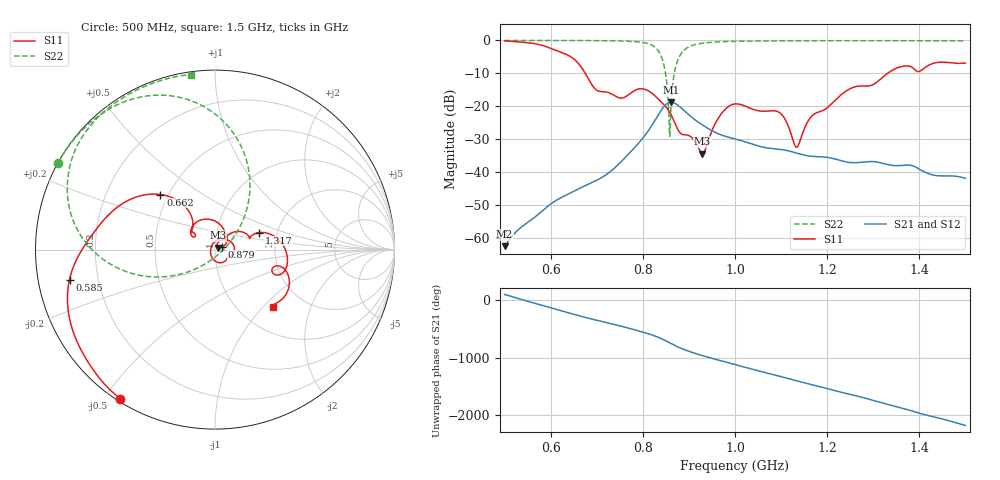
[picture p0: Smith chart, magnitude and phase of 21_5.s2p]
! TOUCHSTONE file generated by CST MICROWAVE STUDIO
! Date and time: Mon Oct 26 12:31:40 2020
! Project name: Scenario_1_Circular_Tissue_out_of_Line.cst
! Parameters = {dy1=0.82; L_HA=400; MT=2.54; Rad_Dielectric=30; Rad_Lower=7.3; Rad_Upper=30; a_HA=580; a_WG=246; b_HA=500; b_WG=121; c_HA=0; c_WG=187; d_feed=85; dx1=866; h_feed=15; h_lower=18; h_upper=40}
! Header version: 2018
! Port assignment regex: !\s*Touchstone port\s*([0-9]+)\s*=\s*(CST MWS port|CST DS port)\s*([0-9]+|Zmin|Zmax)\s*\(\"(.*)\"\)(\s*mode\s*([0-9]+))?.*
! Touchstone port assignment:
! Touchstone port 1 = CST MWS port 1 ("")
! Touchstone port 2 = CST MWS port 2 ("")
# GHz S DB R 50
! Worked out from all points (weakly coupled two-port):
!   1001 points, 500 MHz to 1.5 GHz, reference 50 ohm
!   highest |S21| = -18.80 dB at 861 MHz (marker M1); lowest = -62.6 dB at 500 MHz (marker M2)
!   lowest |S11| = -34.4 dB at 929 MHz (marker M3), VSWR 1.04, Z = 51.5 + j1.2 ohm
!   |S11| at or under -10 dB: 675.1 MHz to 1.331 GHz (656.1 MHz wide, 65.4 % of centre)
!   |S22| runs from -29.2 to 0.0 dB; largest |S21 - S12| = 5.4e-05
!   S11 on the Smith chart (normalised r, x): 500 MHz: 0.01, -0.55; 585 MHz: 0.10, -0.10; 662 MHz: 0.45, +0.34; 879 MHz: 1.08, +0.04; 1.317 GHz: 1.61, +0.33; 1.5 GHz: 1.41, -1.14
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0.5  -0.14 -122.4  -62.59 99.5  -62.58 99.5  -0.01 151.1
0.585  -1.64 -168.4  -51.46 -94.4  -51.46 -94.4  -0.02 145.2
0.662  -7.30 134.7  -45.03 89.7  -45.03 89.7  -0.04 138.8
0.667  -8.22 130.6  -44.69 78.9  -44.69 78.9  -0.04 138.4
0.703  -15.35 137.5  -42.32 4.8  -42.32 4.8  -0.07 134.5
0.78  -15.40 143.0  -32.93 -149.9  -32.93 -149.9  -0.33 120.5
0.834  -17.88 69.4  -22.55 72.9  -22.55 72.9  -3.24 83.7
0.848  -19.84 50.9  -19.79 20.7  -19.79 20.7  -9.00 57.3
0.856  -21.27 38.8  -18.95 -12.8  -18.95 -12.8  -20.99 25.0
0.861  -22.48 31.5  -18.80 -34.0  -18.80 -34.0  -20.38 -124.2
0.869  -24.93 23.4  -19.08 -66.7  -19.08 -66.7  -9.42 -153.2
0.879  -27.81 24.5  -20.02 -104.0  -20.02 -104.0  -4.99 -170.1
0.898  -28.83 26.9  -22.39 -163.8  -22.39 -163.8  -2.08 170.5
0.929  -34.40 37.8  -25.68 116.4  -25.68 116.4  -0.85 154.9
0.966  -23.16 51.6  -28.52 33.1  -28.52 33.1  -0.43 145.8
1  -19.31 6.0  -29.93 -40.0  -29.93 -40.0  -0.28 140.3
1.096  -21.90 -65.8  -33.11 118.1  -33.11 118.1  -0.13 130.1
1.133  -32.51 171.5  -34.24 38.3  -34.24 38.3  -0.11 126.9
1.167  -22.98 61.9  -35.26 -29.5  -35.26 -29.5  -0.10 124.2
1.317  -11.62 21.2  -37.26 17.0  -37.26 17.0  -0.09 112.8
1.334  -9.72 14.6  -37.84 -19.1  -37.84 -19.1  -0.09 111.5
1.5  -6.87 -44.8  -41.94 -21.4  -41.94 -21.4  -0.13 97.9
